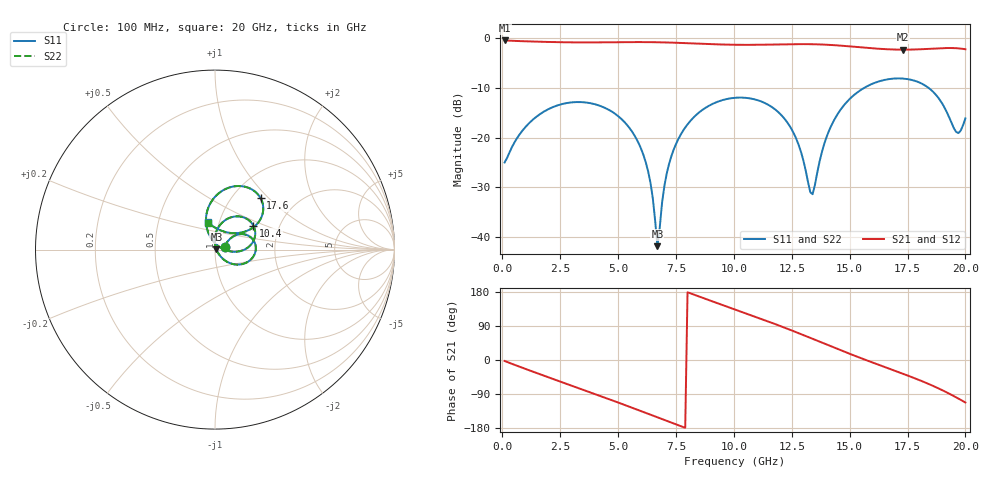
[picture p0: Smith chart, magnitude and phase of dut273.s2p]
! Touchstone file exported from HFSS 2026.1.0
!  File:  C:/ffzhzh/LocalFiles/Ansys_Project_Files/temp_train_TSV_RDL_273_1783084434_20200.aedt
!  Generated:  09:34:06 PM Jul  3, 2026
!  Design:  TSV_RDL
!  Project:  temp_train_TSV_RDL_273_1783084434_20200
! Variables:
!  h_bsmrdl = 4.72um
!  h_ox = 20um
!  h_rdl = 5um
!  h_sub = 94.23um
!  h_tmrdl = 2.02um
!  h_tsv = 94.23um
!  h_via = 3um
!  l_bsmrdl = 987.9um
!  l_sub = 7113.07um
!  l_tmrdl = 908.19um
!  m_sub = 200um
!  pitch = 28.04um
!  r_tsv = 4.87um
!  s_tmrdl = 10um
!  w_bsmrdl = 24.44um
!  w_sub = 500um
!  w_tmrdl = 14.43um
!  x_tsv_center1 = 915.405um
!  x_tsv_center2 = 1927.745um
!  x_tsv_center3 = 2850.365um
!  x_tsv_center4 = 3862.705um
!  x_tsv_center5 = 4785.325um
!  x_tsv_center6 = 5797.665um
# GHz S MA R 50.000000
! Terminal data exported
! Port[1] = TM_RDL1_1_T1
! Port[2] = TM_RDL5_1_T1
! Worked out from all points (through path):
!   200 points, 100 MHz to 20 GHz, reference 50 ohm
!   highest |S21| = -0.49 dB at 100 MHz (marker M1); lowest = -2.3 dB at 17.3 GHz (marker M2)
!   group delay of S21, straight-line fit = 64.1 ps
!   lowest |S11| = -41.8 dB at 6.7 GHz (marker M3), VSWR 1.02, Z = 50.8 + j0.155 ohm
!   |S11| at or under -10 dB: start of sweep to 15.63 GHz; 18.41 GHz to end of sweep
!   |S22| runs from -42.4 to -8.1 dB; largest |S21 - S12| = 1.6e-14
!   S11 on the Smith chart (normalised r, x): 100 MHz: 1.12, +0.03; 10.4 GHz: 1.47, +0.42; 17.6 GHz: 1.33, +0.90; 20 GHz: 0.89, +0.27
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0.1  0.05629 12.6  0.9455 -2.5  0.9455 -2.5  0.05629 12.6
! Gamma 0 0 0 0
! Port Impedance 50 0 50 0
1.5  0.1639 31.7  0.9197 -34.8  0.9197 -34.8  0.1639 31.7
3.5  0.2267 -1.0  0.9033 -78.8  0.9033 -78.8  0.2267 -1.1
4.8  0.1782 -26.1  0.9073 -107.6  0.9073 -107.6  0.1782 -26.2
5.8  0.0965 -44.9  0.9108 -130.4  0.9108 -130.4  0.09654 -45.3
6.4  0.03514 -49.5  0.9093 -144.3  0.9093 -144.3  0.03509 -50.5
6.7  0.008137 10.8  0.9071 -151.3  0.9071 -151.3  0.007544 9.3
6.8  0.01253 68.8  0.9062 -153.6  0.9062 -153.6  0.01207 70.8
7.1  0.04346 91.4  0.9027 -160.6  0.9027 -160.6  0.04326 92.2
7.7  0.1067 84.7  0.8931 -174.4  0.8931 -174.4  0.1065 85.0
10.1  0.2517 37.8  0.8555 132.3  0.8555 132.3  0.2516 37.9
10.4  0.2521 31.9  0.8544 125.8  0.8544 125.8  0.252 32.0
12.3  0.1431 -3.2  0.8663 82.7  0.8663 82.7  0.1431 -3.0
13.4  0.02705 61.7  0.8668 56.0  0.8668 56.0  0.02754 61.7
13.9  0.08593 111.3  0.8592 43.5  0.8592 43.5  0.08612 111.1
14.5  0.175 106.8  0.8429 28.6  0.8429 28.6  0.1751 106.6
16.7  0.3869 65.3  0.7702 -22.7  0.7702 -22.7  0.3869 65.2
17.3  0.3919 54.1  0.7644 -36.2  0.7644 -36.2  0.3918 54.0
17.6  0.3833 48.6  0.7653 -43.2  0.7653 -43.2  0.3833 48.6
18.7  0.2736 31.3  0.7853 -71.0  0.7853 -71.0  0.2735 31.3
19.6  0.1141 59.2  0.7907 -98.5  0.7907 -98.5  0.1137 59.1
20  0.156 104.5  0.7722 -112.2  0.7722 -112.2  0.1557 104.6
